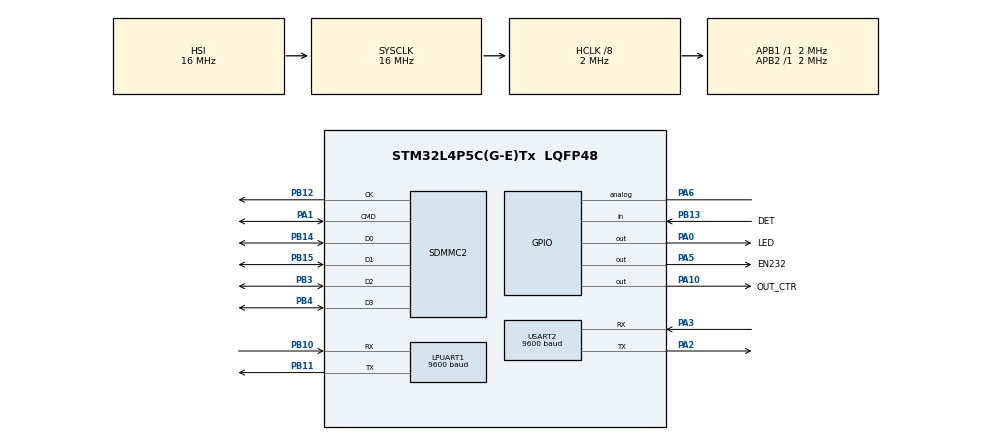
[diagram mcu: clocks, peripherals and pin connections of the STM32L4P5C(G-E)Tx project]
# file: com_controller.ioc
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FATFS._CODE_PAGE=936
FATFS._MAX_SS=512
FATFS._USE_LFN=0
FREERTOS.Mutexes01=printMutex,Dynamic,NULL,Available;rtcMutex,Dynamic,NULL,Available
FREERTOS.Queues01=sdCmdQueue,5,uint32_t,0,Dynamic,NULL,NULL;rx1Queue,5,uint32_t,0,Dynamic,NULL,NULL;rx2Queue,5,uint32_t,0,Dynamic,NULL,NULL
FREERTOS.Tasks01=defaultTask,0,128,StartDefaultTask,Default,NULL,Dynamic,NULL,NULL;cmdTask,2,256,CMDTask,As external,NULL,Dynamic,NULL,NULL;sdTask,0,1024,SDTask,As external,NULL,Dynamic,NULL,NULL;saveTask,-3,256,SaveTask,As external,NULL,Dynamic,NULL,NULL;delayTask,-2,128,DelayTask,As external,NULL,Dynamic,NULL,NULL
FREERTOS.configTOTAL_HEAP_SIZE=15360
FREERTOS.configUSE_TICKLESS_IDLE=0
LPUART1.BaudRate=9600
LPUART1.WordLength=UART_WORDLENGTH_8B
Mcu.Family=STM32L4
Mcu.Name=STM32L4P5C(G-E)Tx
Mcu.Package=LQFP48
NVIC.LPUART1_IRQn=true\:5\:0\:false\:false\:true\:true\:true\:true\:true
NVIC.PriorityGroup=NVIC_PRIORITYGROUP_4
NVIC.SDMMC2_IRQn=true\:6\:0\:true\:false\:true\:true\:true\:true\:true
NVIC.TIM1_UP_TIM16_IRQn=true\:15\:0\:false\:false\:true\:false\:false\:true\:true
NVIC.TimeBase=TIM1_UP_TIM16_IRQn
NVIC.TimeBaseIP=TIM1
NVIC.USART2_IRQn=true\:5\:0\:false\:false\:true\:true\:true\:true\:true
PA0.GPIO_Label=LED
PA0.PinState=GPIO_PIN_SET
PA0.Signal=GPIO_Output
PA1.Mode=SD_4_bits_Wide_bus
PA1.Signal=SDMMC2_CMD
PA10.GPIO_Label=OUT_CTR
PA10.Signal=GPIO_Output
PA13\ (JTMS/SWDIO).Mode=Serial_Wire
PA13\ (JTMS/SWDIO).Signal=SYS_JTMS-SWDIO
PA14\ (JTCK/SWCLK).Mode=Serial_Wire
PA14\ (JTCK/SWCLK).Signal=SYS_JTCK-SWCLK
PA2.Mode=Asynchronous
PA2.Signal=USART2_TX
PA3.Mode=Asynchronous
PA3.Signal=USART2_RX
PA5.GPIO_Label=EN232
PA5.Signal=GPIO_Output
PA6.Signal=GPIO_Analog
PB10.Mode=Asynchronous
PB10.Signal=LPUART1_RX
PB11.Mode=Asynchronous
PB11.Signal=LPUART1_TX
PB12.Mode=SD_4_bits_Wide_bus
PB12.Signal=SDMMC2_CK
PB13.GPIO_Label=DET
PB13.Signal=GPIO_Input
PB14.Mode=SD_4_bits_Wide_bus
PB14.Signal=SDMMC2_D0
PB15.Mode=SD_4_bits_Wide_bus
PB15.Signal=SDMMC2_D1
PB3\ (JTDO/TRACESWO).Mode=SD_4_bits_Wide_bus
PB3\ (JTDO/TRACESWO).Signal=SDMMC2_D2
PB4\ (NJTRST).Mode=SD_4_bits_Wide_bus
PB4\ (NJTRST).Signal=SDMMC2_D3
PC14-OSC32_IN\ (PC14).Mode=LSE-External-Oscillator
PC14-OSC32_IN\ (PC14).Signal=RCC_OSC32_IN
PC15-OSC32_OUT\ (PC15).Mode=LSE-External-Oscillator
PC15-OSC32_OUT\ (PC15).Signal=RCC_OSC32_OUT
ProjectManager.HeapSize=0x4000
ProjectManager.StackSize=0x4000
ProjectManager.TargetToolchain=MDK-ARM V5.32
RCC.ADCFreq_Value=64000000
RCC.AHBCLKDivider=RCC_SYSCLK_DIV8
RCC.AHBFreq_Value=2000000
RCC.APB1Freq_Value=2000000
RCC.APB1TimFreq_Value=2000000
RCC.APB2Freq_Value=2000000
RCC.APB2TimFreq_Value=2000000
RCC.CortexFreq_Value=2000000
RCC.HCLKFreq_Value=2000000
RCC.HSE_VALUE=8000000
RCC.HSI48_VALUE=48000000
RCC.HSI_VALUE=16000000
RCC.LPUART1CLockSelection=RCC_LPUART1CLKSOURCE_LSE
RCC.MSIClockRange=RCC_MSIRANGE_8
RCC.MSI_VALUE=16000000
RCC.RTCClockSelection=RCC_RTCCLKSOURCE_LSE
RCC.SYSCLKFreq_VALUE=16000000
RCC.SYSCLKSource=RCC_SYSCLKSOURCE_HSI
RCC.USBFreq_Value=64000000
RCC.VCOOutputFreq_Value=128000000
SDMMC2.ClockDiv=64
SDMMC2.ClockPowerSave=SDMMC_CLOCK_POWER_SAVE_ENABLE
SDMMC2.HardwareFlowControl=SDMMC_HARDWARE_FLOW_CONTROL_ENABLE
USART2.BaudRate=9600
USART2.VirtualMode-Asynchronous=VM_ASYNC
VP_FATFS_VS_SDIO.Mode=SDIO
VP_FREERTOS_VS_CMSIS_V1.Mode=CMSIS_V1
VP_RTC_VS_RTC_Activate.Mode=RTC_Enabled
VP_RTC_VS_RTC_Calendar.Mode=RTC_Calendar
VP_SYS_VS_tim1.Mode=TIM1
board=custom

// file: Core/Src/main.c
/* USER CODE BEGIN Header */
/**
  ******************************************************************************
  * @file           : main.c
  * @brief          : Main program body
  ******************************************************************************
  * @attention
  *
  * Copyright (c) 2025 STMicroelectronics.
  * All rights reserved.
  *
  * This software is licensed under terms that can be found in the LICENSE file
  * in the root directory of this software component.
  * If no LICENSE file comes with this software, it is provided AS-IS.
  *
  ******************************************************************************
  */
/* USER CODE END Header */
#include "main.h"
#include "cmsis_os.h"
#include "fatfs.h"
#include "usart.h"
#include "rtc.h"
#include "sdmmc.h"
#include "gpio.h"

void SystemClock_Config(void);
void MX_FREERTOS_Init(void);

int main(void)
{

  /* MCU Configuration--------------------------------------------------------*/

  /* Reset of all peripherals, Initializes the Flash interface and the Systick. */
  HAL_Init();

  /* Configure the system clock */
  SystemClock_Config();

  /* Initialize all configured peripherals */
  MX_GPIO_Init();
  MX_LPUART1_UART_Init();
  MX_USART2_UART_Init();
  MX_SDMMC2_SD_Init();
  MX_FATFS_Init();
  MX_RTC_Init();

  /* Call init function for freertos objects (in cmsis_os2.c) */
  MX_FREERTOS_Init();

  /* Start scheduler */
  osKernelStart();

  /* We should never get here as control is now taken by the scheduler */

  /* Infinite loop */
  while (1)
  {

  }
}

void SystemClock_Config(void)
{
  RCC_OscInitTypeDef RCC_OscInitStruct = {0};
  RCC_ClkInitTypeDef RCC_ClkInitStruct = {0};

  /** Configure the main internal regulator output voltage
  */
  if (HAL_PWREx_ControlVoltageScaling(PWR_REGULATOR_VOLTAGE_SCALE1) != HAL_OK)
  {
    Error_Handler();
  }

  /** Configure LSE Drive Capability
  */
  HAL_PWR_EnableBkUpAccess();
  __HAL_RCC_LSEDRIVE_CONFIG(RCC_LSEDRIVE_LOW);

  /** Initializes the RCC Oscillators according to the specified parameters
  * in the RCC_OscInitTypeDef structure.
  */
  RCC_OscInitStruct.OscillatorType = RCC_OSCILLATORTYPE_HSI|RCC_OSCILLATORTYPE_LSE
                              |RCC_OSCILLATORTYPE_MSI;
  RCC_OscInitStruct.LSEState = RCC_LSE_ON;
  RCC_OscInitStruct.HSIState = RCC_HSI_ON;
  RCC_OscInitStruct.HSICalibrationValue = RCC_HSICALIBRATION_DEFAULT;
  RCC_OscInitStruct.MSIState = RCC_MSI_ON;
  RCC_OscInitStruct.MSICalibrationValue = 0;
  RCC_OscInitStruct.MSIClockRange = RCC_MSIRANGE_8;
  RCC_OscInitStruct.PLL.PLLState = RCC_PLL_ON;
  RCC_OscInitStruct.PLL.PLLSource = RCC_PLLSOURCE_MSI;
  RCC_OscInitStruct.PLL.PLLM = 1;
  RCC_OscInitStruct.PLL.PLLN = 8;
  RCC_OscInitStruct.PLL.PLLP = RCC_PLLP_DIV2;
  RCC_OscInitStruct.PLL.PLLQ = RCC_PLLQ_DIV2;
  RCC_OscInitStruct.PLL.PLLR = RCC_PLLR_DIV2;
  if (HAL_RCC_OscConfig(&RCC_OscInitStruct) != HAL_OK)
  {
    Error_Handler();
  }

  /** Initializes the CPU, AHB and APB buses clocks
  */
  RCC_ClkInitStruct.ClockType = RCC_CLOCKTYPE_HCLK|RCC_CLOCKTYPE_SYSCLK
                              |RCC_CLOCKTYPE_PCLK1|RCC_CLOCKTYPE_PCLK2;
  RCC_ClkInitStruct.SYSCLKSource = RCC_SYSCLKSOURCE_HSI;
  RCC_ClkInitStruct.AHBCLKDivider = RCC_SYSCLK_DIV8;
  RCC_ClkInitStruct.APB1CLKDivider = RCC_HCLK_DIV1;
  RCC_ClkInitStruct.APB2CLKDivider = RCC_HCLK_DIV1;

  if (HAL_RCC_ClockConfig(&RCC_ClkInitStruct, FLASH_LATENCY_0) != HAL_OK)
  {
    Error_Handler();
  }
}

void HAL_TIM_PeriodElapsedCallback(TIM_HandleTypeDef *htim)
{
  if (htim->Instance == TIM1)
  {
    HAL_IncTick();
  }
}

void Error_Handler(void)
{
  __disable_irq();
  while (1)
  {
  }
}

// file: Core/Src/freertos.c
/* USER CODE BEGIN Header */
/**
  ******************************************************************************
  * File Name          : freertos.c
  * Description        : Code for freertos applications
  ******************************************************************************
  * @attention
  *
  * Copyright (c) 2025 STMicroelectronics.
  * All rights reserved.
  *
  * This software is licensed under terms that can be found in the LICENSE file
  * in the root directory of this software component.
  * If no LICENSE file comes with this software, it is provided AS-IS.
  *
  ******************************************************************************
  */
/* USER CODE END Header */

#include "FreeRTOS.h"
#include "task.h"
#include "main.h"
#include "cmsis_os.h"

/* USER CODE BEGIN Includes */
//#include "iwdg.h"
#include "SDTask.h"
#include "usart.h"
#include "rtc.h"
/* USER CODE END Includes */

/* USER CODE BEGIN Variables */
osPoolId  sdCmdQueuePoolHandle;
osPoolId  rx1QueuePoolHandle;
osPoolId  rx2QueuePoolHandle;
extern RTC_DateTypeDef RTC_DateStruct;
/* USER CODE END Variables */
osThreadId defaultTaskHandle;
osThreadId cmdTaskHandle;
osThreadId sdTaskHandle;
osThreadId saveTaskHandle;
osThreadId delayTaskHandle;
osMessageQId sdCmdQueueHandle;
osMessageQId rx1QueueHandle;
osMessageQId rx2QueueHandle;
osMutexId printMutexHandle;
osMutexId rtcMutexHandle;

void StartDefaultTask(void const * argument);
extern void CMDTask(void const * argument);
extern void SDTask(void const * argument);
extern void SaveTask(void const * argument);
extern void DelayTask(void const * argument);

void MX_FREERTOS_Init(void); /* (MISRA C 2004 rule 8.1) */

/* GetIdleTaskMemory prototype (linked to static allocation support) */
void vApplicationGetIdleTaskMemory( StaticTask_t **ppxIdleTaskTCBBuffer, StackType_t **ppxIdleTaskStackBuffer, uint32_t *pulIdleTaskStackSize );

/* USER CODE BEGIN GET_IDLE_TASK_MEMORY */
static StaticTask_t xIdleTaskTCBBuffer;
static StackType_t xIdleStack[configMINIMAL_STACK_SIZE];

void vApplicationGetIdleTaskMemory( StaticTask_t **ppxIdleTaskTCBBuffer, StackType_t **ppxIdleTaskStackBuffer, uint32_t *pulIdleTaskStackSize )
{
  *ppxIdleTaskTCBBuffer = &xIdleTaskTCBBuffer;
  *ppxIdleTaskStackBuffer = &xIdleStack[0];
  *pulIdleTaskStackSize = configMINIMAL_STACK_SIZE;
  /* place for user code */
}
/* USER CODE END GET_IDLE_TASK_MEMORY */

void MX_FREERTOS_Init(void) {
  /* Create the mutex(es) */
  /* definition and creation of printMutex */
  osMutexDef(printMutex);
  printMutexHandle = osMutexCreate(osMutex(printMutex));

  /* definition and creation of rtcMutex */
  osMutexDef(rtcMutex);
  rtcMutexHandle = osMutexCreate(osMutex(rtcMutex));

  /* Create the queue(s) */
  /* definition and creation of sdCmdQueue */
  osMessageQDef(sdCmdQueue, 5, uint32_t);
  sdCmdQueueHandle = osMessageCreate(osMessageQ(sdCmdQueue), NULL);

  /* definition and creation of rx1Queue */
  osMessageQDef(rx1Queue, 5, uint32_t);
  rx1QueueHandle = osMessageCreate(osMessageQ(rx1Queue), NULL);

  /* definition and creation of rx2Queue */
  osMessageQDef(rx2Queue, 5, uint32_t);
  rx2QueueHandle = osMessageCreate(osMessageQ(rx2Queue), NULL);

  /* USER CODE BEGIN RTOS_QUEUES */
  /* add queues, ... */
  osPoolDef(sdCmdQueuePool, 5, sdStruct);
  sdCmdQueuePoolHandle = osPoolCreate(osPool(sdCmdQueuePool));

  osPoolDef(rx1QueuePool, 5, rxStruct);
  rx1QueuePoolHandle = osPoolCreate(osPool(rx1QueuePool));

  osPoolDef(rx2QueuePool, 5, rxStruct);
  rx2QueuePoolHandle = osPoolCreate(osPool(rx2QueuePool));
  /* USER CODE END RTOS_QUEUES */

  /* Create the thread(s) */
  /* definition and creation of defaultTask */
  osThreadDef(defaultTask, StartDefaultTask, osPriorityNormal, 0, 128);
  defaultTaskHandle = osThreadCreate(osThread(defaultTask), NULL);

  /* definition and creation of cmdTask */
  osThreadDef(cmdTask, CMDTask, osPriorityHigh, 0, 256);
  cmdTaskHandle = osThreadCreate(osThread(cmdTask), NULL);

  /* definition and creation of sdTask */
  osThreadDef(sdTask, SDTask, osPriorityNormal, 0, 1024);
  sdTaskHandle = osThreadCreate(osThread(sdTask), NULL);

  /* definition and creation of saveTask */
  osThreadDef(saveTask, SaveTask, osPriorityIdle, 0, 256);
  saveTaskHandle = osThreadCreate(osThread(saveTask), NULL);

  /* definition and creation of delayTask */
  // osThreadDef(delayTask, DelayTask, osPriorityLow, 0, 128);
  // delayTaskHandle = osThreadCreate(osThread(delayTask), NULL);

}

void StartDefaultTask(void const * argument)
{
  /* USER CODE BEGIN StartDefaultTask */
  HAL_GPIO_WritePin(OUT_CTR_GPIO_Port, OUT_CTR_Pin, GPIO_PIN_SET);
  HAL_GPIO_WritePin(EN232_GPIO_Port, EN232_Pin, GPIO_PIN_SET);
  /* Infinite loop */
  for(;;)
  {
    osDelay(500);
    // HAL_GPIO_TogglePin(LED_GPIO_Port, LED_Pin);
  }
  /* USER CODE END StartDefaultTask */
}
